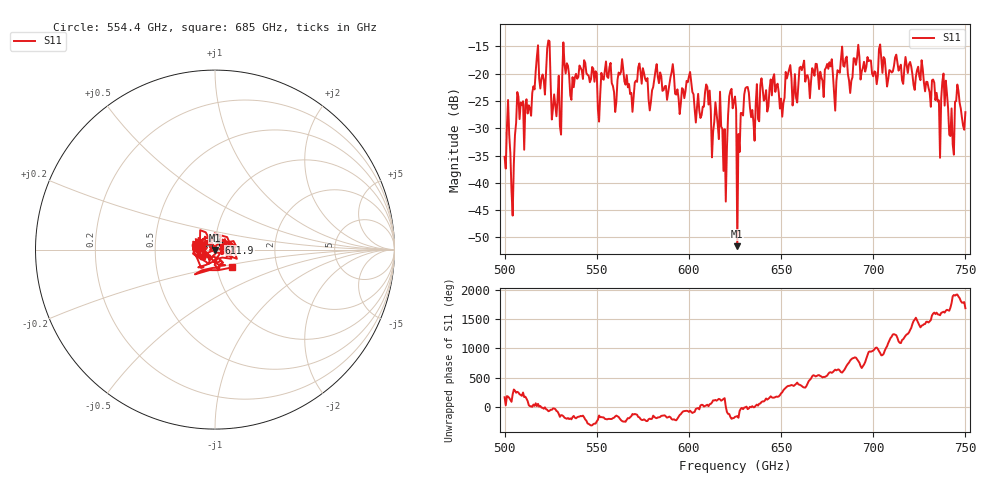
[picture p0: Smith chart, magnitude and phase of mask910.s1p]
!Created with skrf (http://scikit-rf.org).
# GHz S MA R 50.0
!freq magS11 angS11
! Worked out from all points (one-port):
!   401 points, 500 GHz to 750 GHz, reference 50 ohm
!   lowest |S11| = -51.6 dB at 626.2 GHz (marker M1), VSWR 1.01, Z = 49.8 - j0.135 ohm
!   |S11| at or under -10 dB: start of sweep to end of sweep
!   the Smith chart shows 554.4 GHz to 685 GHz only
!   S11 on the Smith chart (normalised r, x): 554.4 GHz: 0.81, +0.04; 611.9 GHz: 1.04, +0.08; 685 GHz: 1.18, -0.24
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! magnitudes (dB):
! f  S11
! 500 GHz  -35.2
! 504.4 GHz  -46.0
! 507.5 GHz  -24.2
! 517.5 GHz  -16.9
! 523.8 GHz  -13.9
! 526.9 GHz  -23.8
! 531.2 GHz  -20.6
! 533.1 GHz  -19.9
! 554.4 GHz  -19.3
! 562.5 GHz  -20.1
! 593.8 GHz  -22.9
! 600 GHz  -20.5
! 611.9 GHz  -26.8
! 619.4 GHz  -30.2
! 623.8 GHz  -26.3
! 625 GHz  -24.2
! 626.2 GHz  -51.6
! 631.2 GHz  -22.5
! 634.4 GHz  -26.6
! 656.2 GHz  -25.8
! 685 GHz  -17.2
! 687.5 GHz  -23.5
! 718.8 GHz  -19.9
! 735 GHz  -25.1
! 738.8 GHz  -25.8
! 742.5 GHz  -26.3
! 745.6 GHz  -22.0
! 750 GHz  -27.0
